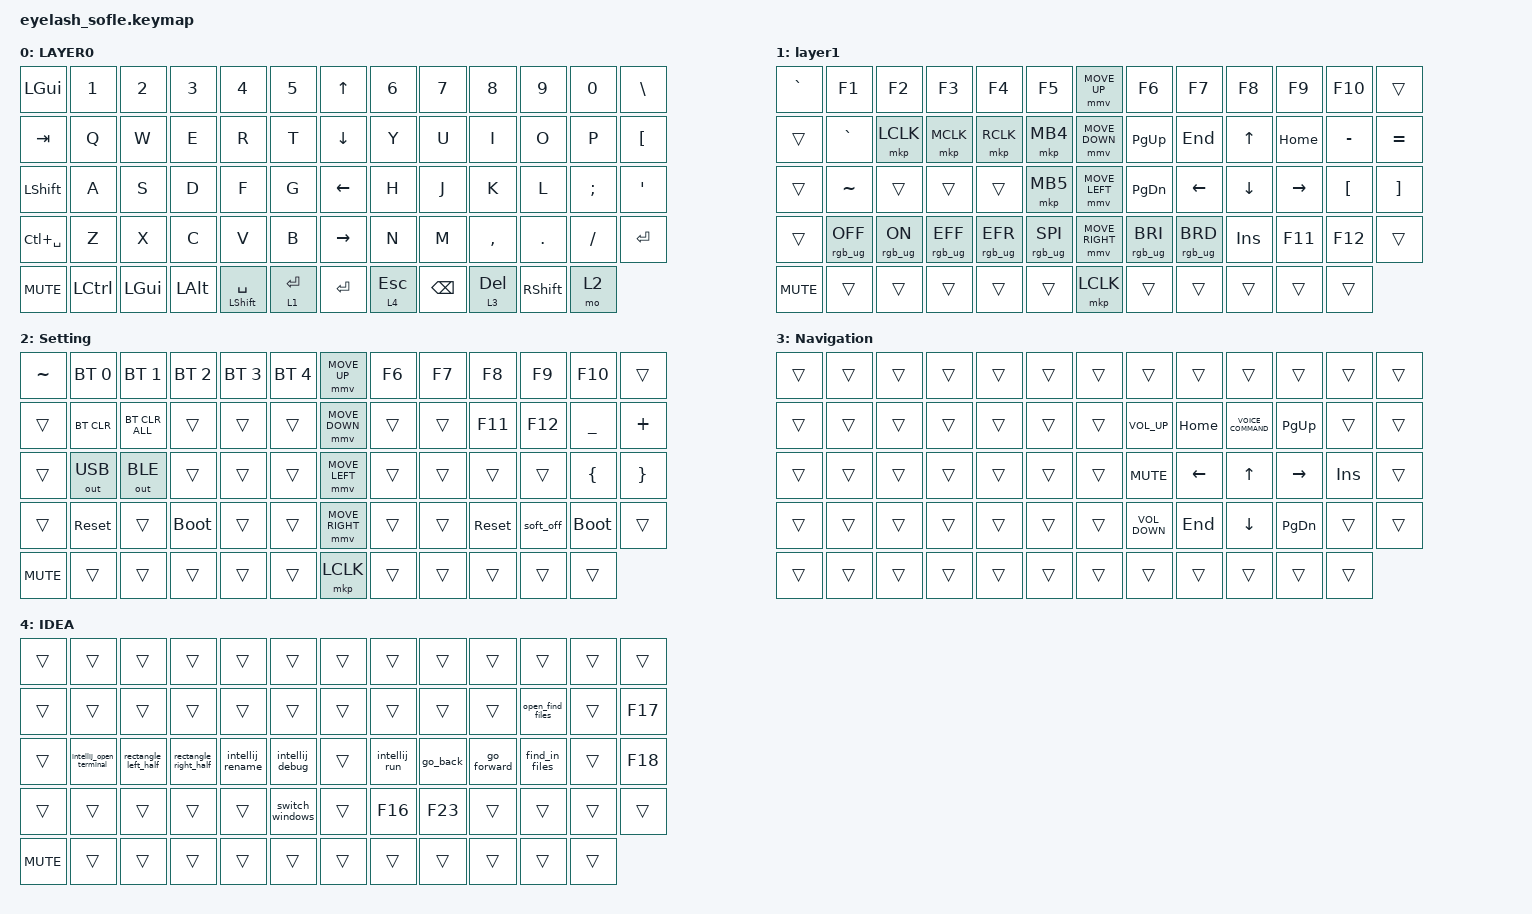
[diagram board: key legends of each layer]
#define ZMK_POINTING_DEFAULT_MOVE_VAL 1200  // 600
#define ZMK_POINTING_DEFAULT_SCRL_VAL 25   // 10

#include <input/processors.dtsi>
#include <zephyr/dt-bindings/input/input-event-codes.h>
#include <behaviors.dtsi>
#include <dt-bindings/zmk/bt.h>
#include <dt-bindings/zmk/keys.h>
#include <dt-bindings/zmk/outputs.h>
#include <dt-bindings/zmk/pointing.h>
#include <dt-bindings/zmk/rgb.h>

&mmv_input_listener { input-processors = <&zip_xy_scaler 2 1>; };

&msc_input_listener { input-processors = <&zip_scroll_scaler 2 1>; };

&msc {
    acceleration-exponent = <1>;      // 0
    time-to-max-speed-ms = <100>;       // 300
    delay-ms = <0>;                   // 0
};

&mmv {
    time-to-max-speed-ms = <500>;
    acceleration-exponent = <1>;
    trigger-period-ms = <16>;
};

&lt { quick-tap-ms = <200>; };

&mt {
};

/ {
    macros {
        intellij_open_terminal: intellij_open_terminal {
            label = "intellj_open_terminal";
            compatible = "zmk,behavior-macro";
            #binding-cells = <0>;
            bindings =
                <&macro_press>,
                <&kp LALT>,
                <&macro_tap>,
                <&kp F12>,
                <&macro_release>,
                <&kp LALT>;
        };

        intellij_rename: intellij_rename {
            label = "intellij_rename";
            compatible = "zmk,behavior-macro";
            #binding-cells = <0>;
            bindings =
                <&macro_press>,
                <&kp LSHFT>,
                <&macro_tap>,
                <&kp F6>,
                <&macro_release>,
                <&kp LSHFT>;
        };

        intellij_debug: intellij_debug {
            label = "intellij_debug";
            compatible = "zmk,behavior-macro";
            #binding-cells = <0>;
            bindings =
                <&macro_press>,
                <&kp LCTRL &kp LSHFT>,
                <&macro_tap>,
                <&kp D>,
                <&macro_release>,
                <&kp LCTRL &kp LSHFT>;
        };

        intellij_run: intellij_run {
            label = "intellij_run";
            compatible = "zmk,behavior-macro";
            #binding-cells = <0>;
            bindings =
                <&macro_press>,
                <&kp LCTRL &kp LSHFT>,
                <&macro_tap>,
                <&kp R>,
                <&macro_release>,
                <&kp LCTRL &kp LSHFT>;
        };

        rectangle_left_half: rectangle_left_half {
            label = "rectangle_left_half";
            compatible = "zmk,behavior-macro";
            #binding-cells = <0>;
            bindings =
                <&macro_press>,
                <&kp LALT &kp LGUI>,
                <&macro_tap>,
                <&kp LEFT>,
                <&macro_release>,
                <&kp LALT &kp LGUI>;
        };

        rectangle_right_half: rectangle_right_half {
            label = "rectangle_right_half";
            compatible = "zmk,behavior-macro";
            #binding-cells = <0>;
            bindings =
                <&macro_press>,
                <&kp LALT &kp LGUI>,
                <&macro_tap>,
                <&kp RIGHT>,
                <&macro_release>,
                <&kp LALT &kp LGUI>;
        };

        go_back: go_back {
            label = "go_back";
            compatible = "zmk,behavior-macro";
            #binding-cells = <0>;
            bindings =
                <&macro_press>,
                <&kp LGUI>,
                <&macro_tap>,
                <&kp LBKT>,
                <&macro_release>,
                <&kp LGUI>;
        };

        go_forward: go_forward {
            label = "go_forward";
            compatible = "zmk,behavior-macro";
            #binding-cells = <0>;
            bindings =
                <&macro_press>,
                <&kp LGUI>,
                <&macro_tap>,
                <&kp RBKT>,
                <&macro_release>,
                <&kp LGUI>;
        };

        switch_windows: switch_windows {
            label = "switch_windows";
            compatible = "zmk,behavior-macro";
            #binding-cells = <0>;
            bindings =
                <&macro_press>,
                <&kp LGUI>,
                <&macro_tap>,
                <&kp GRAVE>,
                <&macro_release>,
                <&kp LGUI>;
        };

        open_find_files: open_find_files {
            compatible = "zmk,behavior-macro";
            #binding-cells = <0>;
            bindings = <&kp LG(LS(O))>;
            label = "OPEN_FIND_FILES";
        };

        find_in_files: find_in_files {
            compatible = "zmk,behavior-macro";
            #binding-cells = <0>;
            bindings = <&kp LG(LS(F))>;
            label = "FIND_IN_FILES";
        };
    };

    combos {
        compatible = "zmk,combos";

        ParaLeft {
            bindings = <&kp LEFT_PARENTHESIS>;
            key-positions = <17 18>;
        };

        ParaRight {
            bindings = <&kp RIGHT_PARENTHESIS>;
            key-positions = <20 21>;
        };

        BrakLeft {
            bindings = <&kp LEFT_BRACKET>;
            key-positions = <30 31>;
        };

        BrakRight {
            bindings = <&kp RIGHT_BRACKET>;
            key-positions = <33 34>;
        };

        BraceLeft {
            bindings = <&kp LEFT_BRACE>;
            key-positions = <43 44>;
        };

        BraceRight {
            bindings = <&kp RIGHT_BRACE>;
            key-positions = <46 47>;
        };

        CapsWord {
            bindings = <&caps_word>;
            key-positions = <31 33>;
        };

        DoubleQuote {
            bindings = <&kp DOUBLE_QUOTES>;
            key-positions = <30 29>;
        };

        SingleQuote {
            bindings = <&kp SINGLE_QUOTE>;
            key-positions = <34 35>;
        };

        PlusSign {
            bindings = <&kp PLUS>;
            key-positions = <16 15>;
        };

        UnderscoreSign {
            bindings = <&kp UNDERSCORE>;
            key-positions = <22 21>;
        };

        PipeSign {
            bindings = <&kp PIPE>;
            key-positions = <22 23>;
        };

        MinusSign {
            bindings = <&kp MINUS>;
            key-positions = <16 17>;
        };
    };

    keymap {
        compatible = "zmk,keymap";

        default_layer {
            bindings = <
&kp LGUI       &kp N1     &kp N2        &kp N3        &kp N4                &kp N5         &kp UP_ARROW     &kp N6     &kp N7         &kp N8        &kp N9           &kp N0    &kp BSLH
&kp TAB        &kp Q      &kp W         &kp E         &kp R                 &kp T          &kp DOWN_ARROW   &kp Y      &kp U          &kp I         &kp O            &kp P     &kp LEFT_BRACKET
&kp LSHFT      &kp A      &kp S         &kp D         &kp F                 &kp G          &kp LEFT_ARROW   &kp H      &kp J          &kp K         &kp L            &kp SEMI  &kp APOS
&kp LC(SPACE)  &kp Z      &kp X         &kp C         &kp V                 &kp B          &kp RIGHT_ARROW  &kp N      &kp M          &kp COMMA     &kp DOT          &kp FSLH  &kp ENTER
&kp C_MUTE     &kp LCTRL  &kp LEFT_GUI  &kp LEFT_ALT  &mt LEFT_SHIFT SPACE  &lt 1 ENTER    &kp ENTER        &lt 4 ESC  &kp BACKSPACE  &lt 3 DELETE  &kp RIGHT_SHIFT  &mo 2
            >;

            display-name = "LAYER0";
        };

        layer_1 {
            bindings = <
&kp GRAVE   &kp F1           &kp F2          &kp F3           &kp F4           &kp F5             &mmv MOVE_UP     &kp F6           &kp F7           &kp F8      &kp F9     &kp F10           &trans
&trans      &kp GRAVE        &mkp LCLK       &mkp MCLK        &mkp RCLK        &mkp MB4           &mmv MOVE_DOWN   &kp PG_UP        &kp END          &kp UP      &kp HOME   &kp MINUS         &kp EQUAL
&trans      &kp TILDE        &trans          &trans           &trans           &mkp MB5           &mmv MOVE_LEFT   &kp PG_DN        &kp LEFT         &kp DOWN    &kp RIGHT  &kp LEFT_BRACKET  &kp RIGHT_BRACKET
&trans      &rgb_ug RGB_OFF  &rgb_ug RGB_ON  &rgb_ug RGB_EFF  &rgb_ug RGB_EFR  &rgb_ug RGB_SPI    &mmv MOVE_RIGHT  &rgb_ug RGB_BRI  &rgb_ug RGB_BRD  &kp INSERT  &kp F11    &kp F12           &trans
&kp C_MUTE  &trans           &trans          &trans           &trans           &trans             &mkp LCLK        &trans           &trans           &trans      &trans     &trans
            >;

            display-name = "layer1";
        };

        Setting {
            bindings = <
&kp TILDE   &bt BT_SEL 0  &bt BT_SEL 1    &bt BT_SEL 2  &bt BT_SEL 3  &bt BT_SEL 4    &mmv MOVE_UP     &kp F6  &kp F7  &kp F8      &kp F9     &kp F10      &trans
&trans      &bt BT_CLR    &bt BT_CLR_ALL  &trans        &trans        &trans          &mmv MOVE_DOWN   &trans  &trans  &kp F11     &kp F12    &kp UNDER    &kp PLUS
&trans      &out OUT_USB  &out OUT_BLE    &trans        &trans        &trans          &mmv MOVE_LEFT   &trans  &trans  &trans      &trans     &kp LBRC     &kp RBRC
&trans      &sys_reset    &trans          &bootloader   &trans        &trans          &mmv MOVE_RIGHT  &trans  &trans  &sys_reset  &soft_off  &bootloader  &trans
&kp C_MUTE  &trans        &trans          &trans        &trans        &trans          &mkp LCLK        &trans  &trans  &trans      &trans     &trans
            >;
        };

        Navigation {
            bindings = <
&trans  &trans  &trans  &trans  &trans  &trans    &trans  &trans             &trans    &trans               &trans           &trans   &trans
&trans  &trans  &trans  &trans  &trans  &trans    &trans  &kp C_VOLUME_UP    &kp HOME  &kp C_VOICE_COMMAND  &kp PAGE_UP      &trans   &trans
&trans  &trans  &trans  &trans  &trans  &trans    &trans  &kp K_MUTE         &kp LEFT  &kp UP_ARROW         &kp RIGHT_ARROW  &kp INS  &trans
&trans  &trans  &trans  &trans  &trans  &trans    &trans  &kp C_VOLUME_DOWN  &kp END   &kp DOWN_ARROW       &kp PAGE_DOWN    &trans   &trans
&trans  &trans  &trans  &trans  &trans  &trans    &trans  &trans             &trans    &trans               &trans           &trans
            >;
        };

        IDEA {
            bindings = <
&trans      &trans                   &trans                &trans                 &trans            &trans             &trans  &trans         &trans    &trans       &trans            &trans  &trans
&trans      &trans                   &trans                &trans                 &trans            &trans             &trans  &trans         &trans    &trans       &open_find_files  &trans  &kp F17
&trans      &intellij_open_terminal  &rectangle_left_half  &rectangle_right_half  &intellij_rename  &intellij_debug    &trans  &intellij_run  &go_back  &go_forward  &find_in_files    &trans  &kp F18
&trans      &trans                   &trans                &trans                 &trans            &switch_windows    &trans  &kp F16        &kp F23   &trans       &trans            &trans  &trans
&kp C_MUTE  &trans                   &trans                &trans                 &trans            &trans             &trans  &trans         &trans    &trans       &trans            &trans
            >;
        };
    };
};
